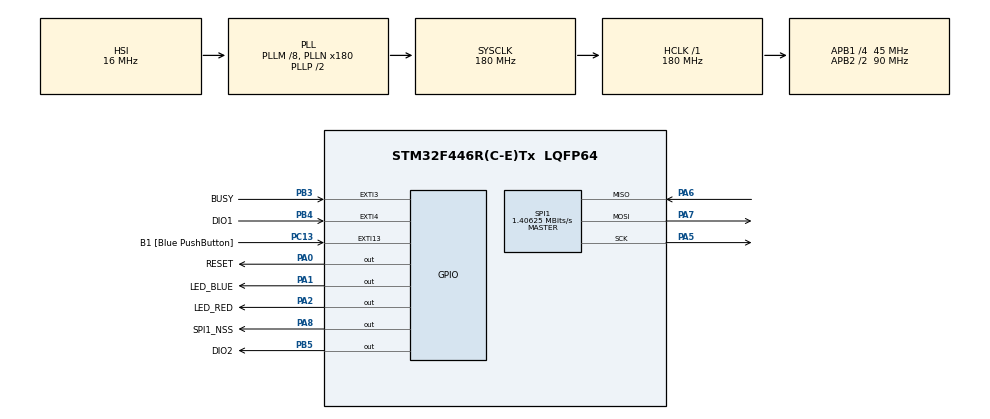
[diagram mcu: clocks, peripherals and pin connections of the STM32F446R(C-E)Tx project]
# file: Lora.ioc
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FREERTOS.MEMORY_ALLOCATION=1
FREERTOS.Tasks01=defaultTask,0,128,StartDefaultTask,Default,NULL,Static,defaultTaskBuffer,defaultTaskControlBlock
FREERTOS.configUSE_TIMERS=1
Mcu.Family=STM32F4
Mcu.Name=STM32F446R(C-E)Tx
Mcu.Package=LQFP64
NVIC.PriorityGroup=NVIC_PRIORITYGROUP_4
NVIC.TIM1_UP_TIM10_IRQn=true\:0\:0\:false\:false\:true\:false\:false\:true
NVIC.TimeBase=TIM1_UP_TIM10_IRQn
NVIC.TimeBaseIP=TIM1
PA0-WKUP.GPIO_Label=RESET
PA0-WKUP.GPIO_PuPd=GPIO_PULLUP
PA0-WKUP.PinState=GPIO_PIN_SET
PA0-WKUP.Signal=GPIO_Output
PA1.GPIO_Label=LED_BLUE
PA1.Signal=GPIO_Output
PA13.GPIO_Label=TMS
PA13.Mode=Serial_Wire
PA13.Signal=SYS_JTMS-SWDIO
PA14.GPIO_Label=TCK
PA14.Mode=Serial_Wire
PA14.Signal=SYS_JTCK-SWCLK
PA2.GPIO_Label=LED_RED
PA2.Signal=GPIO_Output
PA5.Mode=Full_Duplex_Master
PA5.Signal=SPI1_SCK
PA6.Mode=Full_Duplex_Master
PA6.Signal=SPI1_MISO
PA7.Mode=Full_Duplex_Master
PA7.Signal=SPI1_MOSI
PA8.GPIO_Label=SPI1_NSS
PA8.GPIO_ModeDefaultOutputPP=GPIO_MODE_OUTPUT_PP
PA8.GPIO_PuPd=GPIO_PULLUP
PA8.GPIO_Speed=GPIO_SPEED_FREQ_VERY_HIGH
PA8.PinState=GPIO_PIN_SET
PA8.Signal=GPIO_Output
PB3.GPIO_Label=BUSY
PB3.GPIO_ModeDefaultEXTI=GPIO_MODE_IT_FALLING
PB3.GPIO_PuPd=GPIO_PULLUP
PB3.Signal=GPXTI3
PB4.GPIO_Label=DIO1
PB4.GPIO_ModeDefaultEXTI=GPIO_MODE_IT_RISING
PB4.GPIO_PuPd=GPIO_PULLDOWN
PB4.Signal=GPXTI4
PB5.GPIO_Label=DIO2
PB5.Signal=GPIO_Output
PC13.GPIO_Label=B1 [Blue PushButton]
PC13.GPIO_ModeDefaultEXTI=GPIO_MODE_IT_FALLING
PC13.Signal=GPXTI13
PC14-OSC32_IN.Mode=LSE-External-Oscillator
PC14-OSC32_IN.Signal=RCC_OSC32_IN
PC15-OSC32_OUT.Mode=LSE-External-Oscillator
PC15-OSC32_OUT.Signal=RCC_OSC32_OUT
PH0-OSC_IN.Mode=HSE-External-Oscillator
PH0-OSC_IN.Signal=RCC_OSC_IN
PH1-OSC_OUT.Mode=HSE-External-Oscillator
PH1-OSC_OUT.Signal=RCC_OSC_OUT
ProjectManager.HeapSize=0x200
ProjectManager.StackSize=0x400
ProjectManager.TargetToolchain=TrueSTUDIO
RCC.48MHZClocksFreq_Value=84000000
RCC.AHBFreq_Value=180000000
RCC.APB1CLKDivider=RCC_HCLK_DIV4
RCC.APB1Freq_Value=45000000
RCC.APB1TimFreq_Value=90000000
RCC.APB2CLKDivider=RCC_HCLK_DIV2
RCC.APB2Freq_Value=90000000
RCC.APB2TimFreq_Value=180000000
RCC.CortexFreq_Value=180000000
RCC.FLatency-AdvancedSettings=FLASH_LATENCY_5
RCC.HCLKFreq_Value=180000000
RCC.HSE_VALUE=8000000
RCC.HSI_VALUE=16000000
RCC.PLLM=8
RCC.PLLN=180
RCC.SYSCLKFreq_VALUE=180000000
RCC.SYSCLKSource=RCC_SYSCLKSOURCE_PLLCLK
RCC.USBFreq_Value=180000000
RCC.VCOOutputFreq_Value=360000000
SPI1.BaudRatePrescaler=SPI_BAUDRATEPRESCALER_64
SPI1.CalculateBaudRate=1.40625 MBits/s
SPI1.Direction=SPI_DIRECTION_2LINES
SPI1.Mode=SPI_MODE_MASTER
SPI1.VirtualType=VM_MASTER
VP_FREERTOS_VS_CMSIS_V1.Mode=CMSIS_V1
VP_SYS_VS_tim1.Mode=TIM1
board=NUCLEO-F446RE

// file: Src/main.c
/* USER CODE BEGIN Header */
/**
  ******************************************************************************
  * @file           : main.c
  * @brief          : Main program body
  ******************************************************************************
  * @attention
  *
  * <h2><center>&copy; Copyright (c) 2020 STMicroelectronics.
  * All rights reserved.</center></h2>
  *
  * This software component is licensed by ST under Ultimate Liberty license
  * SLA0044, the "License"; You may not use this file except in compliance with
  * the License. You may obtain a copy of the License at:
  *                             www.st.com/SLA0044
  *
  ******************************************************************************
  */
/* USER CODE END Header */

#include "main.h"
#include "cmsis_os.h"
#include "spi.h"
#include "gpio.h"

void SystemClock_Config(void);
void MX_FREERTOS_Init(void);

int main(void)
{

  /* MCU Configuration--------------------------------------------------------*/

  /* Reset of all peripherals, Initializes the Flash interface and the Systick. */
  HAL_Init();

  /* Configure the system clock */
  SystemClock_Config();

  /* Initialize all configured peripherals */
  MX_GPIO_Init();
  MX_SPI1_Init();

  /* Call init function for freertos objects (in freertos.c) */
  MX_FREERTOS_Init();

  /* Start scheduler */
  osKernelStart();

  /* We should never get here as control is now taken by the scheduler */

  /* Infinite loop */
  while (1)
  {

  }
}

void SystemClock_Config(void)
{
  RCC_OscInitTypeDef RCC_OscInitStruct = {0};
  RCC_ClkInitTypeDef RCC_ClkInitStruct = {0};

  /** Configure the main internal regulator output voltage
  */
  __HAL_RCC_PWR_CLK_ENABLE();
  __HAL_PWR_VOLTAGESCALING_CONFIG(PWR_REGULATOR_VOLTAGE_SCALE1);
  /** Initializes the CPU, AHB and APB busses clocks
  */
  RCC_OscInitStruct.OscillatorType = RCC_OSCILLATORTYPE_HSI;
  RCC_OscInitStruct.HSIState = RCC_HSI_ON;
  RCC_OscInitStruct.HSICalibrationValue = RCC_HSICALIBRATION_DEFAULT;
  RCC_OscInitStruct.PLL.PLLState = RCC_PLL_ON;
  RCC_OscInitStruct.PLL.PLLSource = RCC_PLLSOURCE_HSI;
  RCC_OscInitStruct.PLL.PLLM = 8;
  RCC_OscInitStruct.PLL.PLLN = 180;
  RCC_OscInitStruct.PLL.PLLP = RCC_PLLP_DIV2;
  RCC_OscInitStruct.PLL.PLLQ = 2;
  RCC_OscInitStruct.PLL.PLLR = 2;
  if (HAL_RCC_OscConfig(&RCC_OscInitStruct) != HAL_OK)
  {
    Error_Handler();
  }
  /** Activate the Over-Drive mode
  */
  if (HAL_PWREx_EnableOverDrive() != HAL_OK)
  {
    Error_Handler();
  }
  /** Initializes the CPU, AHB and APB busses clocks
  */
  RCC_ClkInitStruct.ClockType = RCC_CLOCKTYPE_HCLK|RCC_CLOCKTYPE_SYSCLK
                              |RCC_CLOCKTYPE_PCLK1|RCC_CLOCKTYPE_PCLK2;
  RCC_ClkInitStruct.SYSCLKSource = RCC_SYSCLKSOURCE_PLLCLK;
  RCC_ClkInitStruct.AHBCLKDivider = RCC_SYSCLK_DIV1;
  RCC_ClkInitStruct.APB1CLKDivider = RCC_HCLK_DIV4;
  RCC_ClkInitStruct.APB2CLKDivider = RCC_HCLK_DIV2;

  if (HAL_RCC_ClockConfig(&RCC_ClkInitStruct, FLASH_LATENCY_5) != HAL_OK)
  {
    Error_Handler();
  }
}

void HAL_TIM_PeriodElapsedCallback(TIM_HandleTypeDef *htim)
{
  if (htim->Instance == TIM1) {
    HAL_IncTick();
  }
}

void Error_Handler(void)
{
}

/************************ (C) COPYRIGHT STMicroelectronics *****END OF FILE****/

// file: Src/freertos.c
/* USER CODE BEGIN Header */
/**
 ******************************************************************************
 * File Name          : freertos.c
 * Description        : Code for freertos applications
 ******************************************************************************
 * @attention
 *
 * <h2><center>&copy; Copyright (c) 2020 STMicroelectronics.
 * All rights reserved.</center></h2>
 *
 * This software component is licensed by ST under Ultimate Liberty license
 * SLA0044, the "License"; You may not use this file except in compliance with
 * the License. You may obtain a copy of the License at:
 *                             www.st.com/SLA0044
 *
 ******************************************************************************
 */
/* USER CODE END Header */

#include "FreeRTOS.h"
#include "task.h"
#include "main.h"
#include "cmsis_os.h"

/* USER CODE BEGIN Includes */
#include "sx126x.h"
/* USER CODE END Includes */

/* USER CODE BEGIN Variables */

uint8_t device_EUI [] =
{ 0x9E, 0xD6, 0xE4, 0xCD, 0xDE, 0x71, 0x10, 0x2A } ;
uint8_t app_EUI [] =
{ 0xDA, 0x83, 0x0C, 0x72, 0x31, 0x01, 0xE6, 0x92 } ;
uint8_t app_key [] =
{ 0xE9, 0x49, 0x8D, 0x25, 0xC7, 0x6F, 0xDD, 0x43, 0x04, 0x84, 0x5C, 0x3B, 0xEB,
		0x71, 0xFF, 0xD6 } ;

extern SPI_HandleTypeDef hspi1 ;

sx126x_t sx1262 ;
RadioIOCallbacks_t sx1262_IO_callbacks ;
RadioCallbacks_t sx1262_callbacks ;

/* USER CODE END Variables */
osThreadId defaultTaskHandle ;
uint32_t defaultTaskBuffer [128] ;
osStaticThreadDef_t defaultTaskControlBlock ;

/* USER CODE BEGIN FunctionPrototypes */

void setRadioNSS ( uint8_t value ) ;
void setRadioRESET ( uint8_t value ) ;
uint8_t getRadioBUSY ( void ) ;
void setRadioAntSwitchPower ( uint8_t value ) ;

void txDone ( void ) ;
void rxDone ( void ) ;
void rxPreambleDetect ( void ) ;
void rxSyncWordDone ( void ) ;
void rxHeaderDone ( void ) ;
void txTimeout ( void ) ;
void rxTimeout ( void ) ;
void rxError ( IrqErrorCode_t errCode ) ;
void cadDone ( uint8_t cadFlag ) ;

void wait_ms ( uint32_t ms ) ;
void set_interrupts ( uint8_t enable ) ;
void spi_TxRx ( uint8_t* buf_tx, uint8_t* buf_rx, uint16_t size ) ;
void spi_Tx ( uint8_t* buf, uint16_t size ) ;
void spi_Rx ( uint8_t* buf, uint16_t size ) ;

/* USER CODE END FunctionPrototypes */

void StartDefaultTask ( void const * argument ) ;

void MX_FREERTOS_Init ( void ) ; /* (MISRA C 2004 rule 8.1) */

/* GetIdleTaskMemory prototype (linked to static allocation support) */
void vApplicationGetIdleTaskMemory ( StaticTask_t **ppxIdleTaskTCBBuffer,
		StackType_t **ppxIdleTaskStackBuffer, uint32_t *pulIdleTaskStackSize ) ;

/* GetTimerTaskMemory prototype (linked to static allocation support) */
void vApplicationGetTimerTaskMemory ( StaticTask_t **ppxTimerTaskTCBBuffer,
		StackType_t **ppxTimerTaskStackBuffer, uint32_t *pulTimerTaskStackSize ) ;

/* USER CODE BEGIN GET_IDLE_TASK_MEMORY */
static StaticTask_t xIdleTaskTCBBuffer ;
static StackType_t xIdleStack [configMINIMAL_STACK_SIZE] ;

void vApplicationGetIdleTaskMemory ( StaticTask_t **ppxIdleTaskTCBBuffer,
		StackType_t **ppxIdleTaskStackBuffer, uint32_t *pulIdleTaskStackSize )
{
	*ppxIdleTaskTCBBuffer = &xIdleTaskTCBBuffer ;
	*ppxIdleTaskStackBuffer = &xIdleStack [0] ;
	*pulIdleTaskStackSize = configMINIMAL_STACK_SIZE ;
	/* place for user code */
}
/* USER CODE END GET_IDLE_TASK_MEMORY */

/* USER CODE BEGIN GET_TIMER_TASK_MEMORY */
static StaticTask_t xTimerTaskTCBBuffer ;
static StackType_t xTimerStack [configTIMER_TASK_STACK_DEPTH] ;

void vApplicationGetTimerTaskMemory ( StaticTask_t **ppxTimerTaskTCBBuffer,
		StackType_t **ppxTimerTaskStackBuffer, uint32_t *pulTimerTaskStackSize )
{
	*ppxTimerTaskTCBBuffer = &xTimerTaskTCBBuffer ;
	*ppxTimerTaskStackBuffer = &xTimerStack [0] ;
	*pulTimerTaskStackSize = configTIMER_TASK_STACK_DEPTH ;
	/* place for user code */
}
/* USER CODE END GET_TIMER_TASK_MEMORY */

void MX_FREERTOS_Init ( void )
{

	/* Create the thread(s) */
	/* definition and creation of defaultTask */
	osThreadStaticDef( defaultTask, StartDefaultTask, osPriorityNormal, 0, 128,
			defaultTaskBuffer, &defaultTaskControlBlock ) ;
	defaultTaskHandle = osThreadCreate ( osThread( defaultTask ), NULL ) ;

}

void StartDefaultTask ( void const * argument )
{
	/* USER CODE BEGIN StartDefaultTask */
	RadioStatus_t status ;
	RadioError_t errors ;

	sx1262_IO_callbacks.setRadioNSS = &setRadioNSS ;
	sx1262_IO_callbacks.setRadioRESET = &setRadioRESET ;
	sx1262_IO_callbacks.getRadioBUSY = &getRadioBUSY ;
	sx1262_IO_callbacks.setRadioAntSwitchPower = &setRadioAntSwitchPower ;

	sx1262_callbacks.txDone = &txDone ;
	sx1262_callbacks.rxDone = &rxDone ;
	sx1262_callbacks.rxPreambleDetect = &rxPreambleDetect ;
	sx1262_callbacks.rxSyncWordDone = &rxSyncWordDone ;
	sx1262_callbacks.rxHeaderDone = &rxHeaderDone ;
	sx1262_callbacks.txTimeout = &txTimeout ;
	sx1262_callbacks.rxTimeout = &rxTimeout ;
	sx1262_callbacks.rxError = &rxError ;
	sx1262_callbacks.cadDone = &cadDone ;

	sx1262.wait_ms = &wait_ms ;
	sx1262.set_interrupts = &set_interrupts ;
	sx1262.spi_TxRx = &spi_TxRx ;
	sx1262.spi_Tx = &spi_Tx ;
	sx1262.spi_Rx = &spi_Rx ;

	sx1262.IO_callbacks = &sx1262_IO_callbacks ;
	sx1262.callbacks = &sx1262_callbacks ;

	Init ( &sx1262 ) ;
	SetTxParams ( &sx1262, 0, RADIO_RAMP_200_US ) ;

	/* Infinite loop */
	for ( ; ; )
	{
		osDelay ( 1 ) ;
		status = GetStatus ( &sx1262 ) ;
		osDelay ( 1 ) ;
		errors = GetDeviceErrors ( &sx1262 ) ;
	}
	/* USER CODE END StartDefaultTask */
}

/* USER CODE BEGIN Application */

void setRadioNSS ( uint8_t value )
{
	HAL_GPIO_WritePin ( SPI1_NSS_GPIO_Port, SPI1_NSS_Pin,
			value ? GPIO_PIN_SET : GPIO_PIN_RESET ) ;
}

void setRadioRESET ( uint8_t value )
{
	HAL_GPIO_WritePin ( SPI1_NSS_GPIO_Port, SPI1_NSS_Pin,
			value ? GPIO_PIN_SET : GPIO_PIN_RESET ) ;
}

uint8_t getRadioBUSY ( void )
{
	return HAL_GPIO_ReadPin ( BUSY_GPIO_Port, BUSY_Pin ) == GPIO_PIN_SET ;
}

void setRadioAntSwitchPower ( uint8_t value )
{
	HAL_GPIO_WritePin ( DIO2_GPIO_Port, DIO2_Pin,
			value ? GPIO_PIN_SET : GPIO_PIN_RESET ) ;
}

void txDone ( void )
{

}

void rxDone ( void )
{

}

void rxPreambleDetect ( void )
{

}

void rxSyncWordDone ( void )
{

}

void rxHeaderDone ( void )
{

}

void txTimeout ( void )
{

}

void rxTimeout ( void )
{

}

void rxError ( IrqErrorCode_t errCode )
{

}

void cadDone ( uint8_t cadFlag )
{

}

void wait_ms ( uint32_t ms )
{
	osDelay ( ms ) ;
}

void set_interrupts ( uint8_t enable )
{

}

void spi_TxRx ( uint8_t* buf_tx, uint8_t* buf_rx, uint16_t size )
{
	HAL_SPI_TransmitReceive ( &hspi1, buf_tx, buf_rx, size, 5 ) ;
}

void spi_Tx ( uint8_t* buf, uint16_t size )
{
	HAL_SPI_Transmit ( &hspi1, buf, size, 5 ) ;
}

void spi_Rx ( uint8_t* buf, uint16_t size )
{
	HAL_SPI_Receive ( &hspi1, buf, size, 5 ) ;
}

/* USER CODE END Application */

/************************ (C) COPYRIGHT STMicroelectronics *****END OF FILE****/
